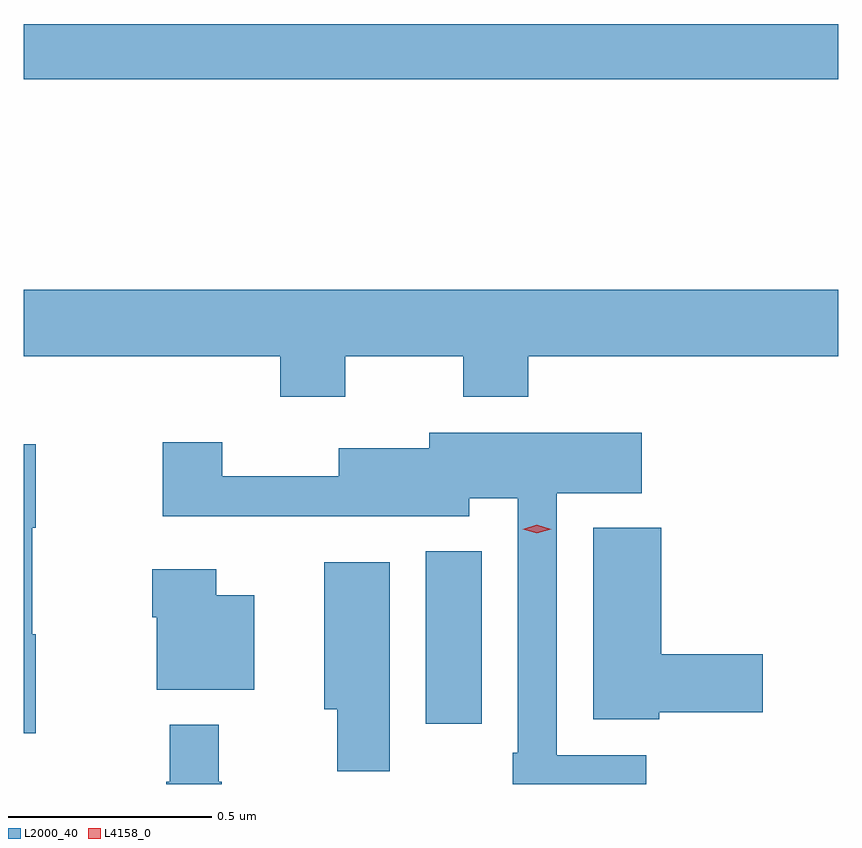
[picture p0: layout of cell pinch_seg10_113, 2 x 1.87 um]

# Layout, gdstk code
import gdstk
lib = gdstk.Library(unit=1e-6, precision=1e-09)
def R(c, l, rs):  # rectangles x0, y0, x1, y1
    for r in rs: c.add(gdstk.rectangle(r[:2], r[2:], *l))
def P(c, l, *ps):  # polygons
    for p in ps: c.add(gdstk.Polygon(p, *l))
L2000_40 = (2000, 40)
L4158_0 = (4158, 0)

pinch_seg10_113 = lib.new_cell('pinch_seg10_113')
R(pinch_seg10_113, L2000_40, [(666.848,1314.066,666.985,1314.49), (665.861,1315.648,667.861,1315.784)])
P(pinch_seg10_113, L2000_40, [(666.651,1314.968),(666.94,1314.968),(666.94,1314.869),(667.1,1314.869),(667.1,1314.968),(667.861,1314.968),(667.861,1315.132),(665.861,1315.132),(665.861,1314.968),(666.491,1314.968),(666.491,1314.869),(666.651,1314.869)],
  [(667.39,1313.988),(667.17,1313.988),(667.17,1314.632),(667.378,1314.632),(667.378,1314.781),(666.857,1314.781),(666.857,1314.742),(666.635,1314.742),(666.635,1314.674),(666.349,1314.674),(666.349,1314.757),(666.202,1314.757),(666.202,1314.575),(666.43,1314.575),(666.43,1314.576),(666.739,1314.576),(666.739,1314.575),(666.955,1314.575),(666.955,1314.62),(667.074,1314.62),(667.074,1313.995),(667.062,1313.995),(667.062,1313.918),(667.39,1313.918)],
  [(665.89,1314.286),(665.882,1314.286),(665.882,1314.547),(665.89,1314.547),(665.89,1314.752),(665.861,1314.752),(665.861,1314.042),(665.89,1314.042)],
  [(667.422,1314.094),(667.675,1314.094),(667.675,1314.236),(667.426,1314.236),(667.426,1314.547),(667.259,1314.547),(667.259,1314.077),(667.422,1314.077)],
  [(666.76,1314.463),(666.599,1314.463),(666.599,1314.101),(666.631,1314.101),(666.631,1313.949),(666.76,1313.949)],
  [(666.427,1314.382),(666.334,1314.382),(666.334,1314.445),(666.176,1314.445),(666.176,1314.327),(666.188,1314.327),(666.188,1314.149),(666.427,1314.149)],
  [(666.347,1313.924),(666.34,1313.924),(666.34,1314.064),(666.219,1314.064),(666.219,1313.924),(666.211,1313.924),(666.211,1313.918),(666.347,1313.918)])
P(pinch_seg10_113, L4158_0, [(667.121,1314.534),(667.086,1314.543),(667.086,1314.544),(667.086,1314.544),(667.121,1314.554),(667.156,1314.544),(667.156,1314.544),(667.156,1314.544)])

lib.write_gds('pinch_seg10_113.gds')
